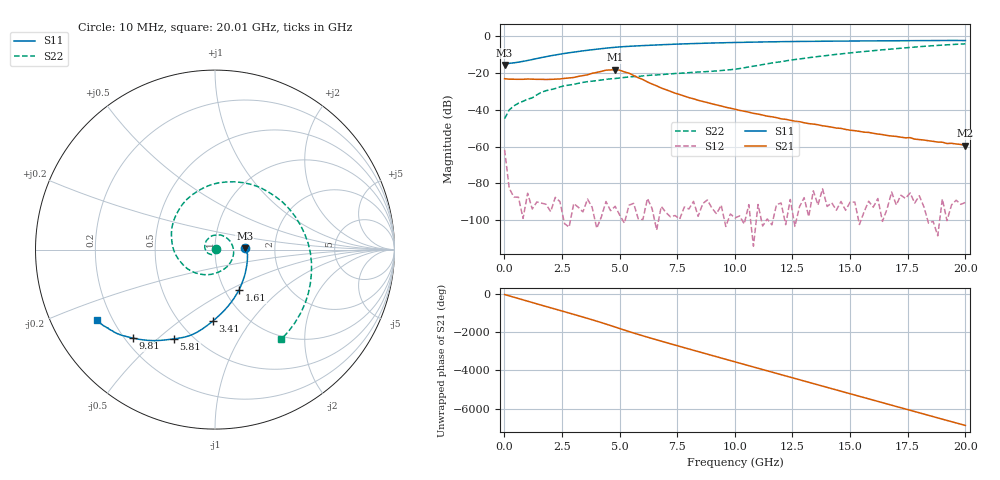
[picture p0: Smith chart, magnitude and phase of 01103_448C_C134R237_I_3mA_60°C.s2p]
!;Filter: kein Filter
!auto
!3/21/2019 9:27:07 AM
!3/21/2019 9:27:22 AM
!SP-Measurements Prober G4
!SP-Measurements Prober G4
!01103_448C
!134
!237
!12
!60
!-20
!0.00299959
!1.83
!0.38139174
!0.38139174
# Hz S  RI  R 50
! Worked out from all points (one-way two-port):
!   101 points, 10 MHz to 20.01 GHz, reference 50 ohm
!   highest |S21| = -18.14 dB at 4.81 GHz (marker M1); lowest = -59.5 dB at 20.01 GHz (marker M2)
!   lowest |S11| = -15.6 dB at 10 MHz (marker M3), VSWR 1.40, Z = 69.8 + j1.1 ohm
!   |S11| at or under -10 dB: start of sweep to 2.302 GHz
!   |S22| runs from -44.8 to -4.1 dB; largest |S21 - S12| = 0.12
!   S11 on the Smith chart (normalised r, x): 10 MHz: 1.40, +0.02; 1.61 GHz: 1.16, -0.57; 3.41 GHz: 0.71, -0.67; 5.81 GHz: 0.40, -0.57; 9.81 GHz: 0.23, -0.42; 20.01 GHz: 0.14, -0.27
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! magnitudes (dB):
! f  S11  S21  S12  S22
! 10 MHz  -15.6  -23.1  -61.8  -44.8
! 210 MHz  -14.7  -23.4  -82.7  -40.1
! 410 MHz  -14.5  -23.4  -87.5  -37.9
! 610 MHz  -14.1  -23.4  -87.6  -36.5
! 1.21 GHz  -12.7  -23.4  -94.0  -33.5
! 1.61 GHz  -11.6  -23.4  -90.8  -30.5
! 2.41 GHz  -9.8  -23.2  -90.0  -27.6
! 3.41 GHz  -8.0  -21.4  -95.6  -25.1
! 4.41 GHz  -6.5  -18.4  -89.9  -23.4
! 4.81 GHz  -6.0  -18.1  -92.5  -23.0
! 5.41 GHz  -5.5  -20.1  -91.9  -22.1
! 5.81 GHz  -5.2  -22.6  -99.3  -21.9
! 6.81 GHz  -4.6  -28.2  -92.6  -20.9
! 8.01 GHz  -4.1  -33.4  -94.0  -19.8
! 9.81 GHz  -3.5  -39.2  -96.7  -18.2
! 10.01 GHz  -3.4  -39.7  -98.8  -17.9
! 12.01 GHz  -3.0  -44.9  -90.7  -13.9
! 13.41 GHz  -2.8  -47.8  -84.1  -11.4
! 16.81 GHz  -2.5  -54.3  -84.8  -7.0
! 17.61 GHz  -2.4  -55.2  -85.3  -6.1
! 17.81 GHz  -2.4  -56.0  -90.8  -5.9
! 20.01 GHz  -2.3  -59.5  -90.5  -4.1
